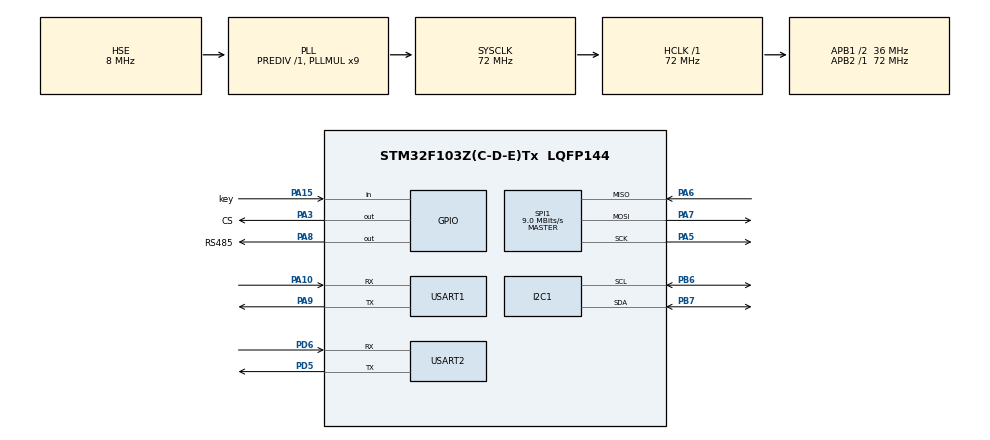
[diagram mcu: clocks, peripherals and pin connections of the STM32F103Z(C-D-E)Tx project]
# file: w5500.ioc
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Dma.Request0=USART2_RX
Dma.Request1=USART2_TX
Dma.USART2_RX.0.Direction=DMA_PERIPH_TO_MEMORY
Dma.USART2_RX.0.Instance=DMA1_Channel6
Dma.USART2_RX.0.MemDataAlignment=DMA_MDATAALIGN_BYTE
Dma.USART2_RX.0.MemInc=DMA_MINC_ENABLE
Dma.USART2_RX.0.Mode=DMA_NORMAL
Dma.USART2_RX.0.PeriphDataAlignment=DMA_PDATAALIGN_BYTE
Dma.USART2_RX.0.PeriphInc=DMA_PINC_DISABLE
Dma.USART2_RX.0.Priority=DMA_PRIORITY_LOW
Dma.USART2_TX.1.Direction=DMA_MEMORY_TO_PERIPH
Dma.USART2_TX.1.Instance=DMA1_Channel7
Dma.USART2_TX.1.MemDataAlignment=DMA_MDATAALIGN_BYTE
Dma.USART2_TX.1.MemInc=DMA_MINC_ENABLE
Dma.USART2_TX.1.Mode=DMA_NORMAL
Dma.USART2_TX.1.PeriphDataAlignment=DMA_PDATAALIGN_BYTE
Dma.USART2_TX.1.PeriphInc=DMA_PINC_DISABLE
Dma.USART2_TX.1.Priority=DMA_PRIORITY_LOW
Mcu.Family=STM32F1
Mcu.Name=STM32F103Z(C-D-E)Tx
Mcu.Package=LQFP144
NVIC.DMA1_Channel6_IRQn=true\:0\:0\:false\:false\:true\:false\:true\:true
NVIC.DMA1_Channel7_IRQn=true\:0\:0\:false\:false\:true\:false\:true\:true
NVIC.I2C1_ER_IRQn=true\:0\:0\:false\:false\:true\:true\:true\:true
NVIC.I2C1_EV_IRQn=true\:0\:0\:false\:false\:true\:true\:true\:true
NVIC.PriorityGroup=NVIC_PRIORITYGROUP_4
NVIC.TIM4_IRQn=true\:0\:0\:false\:false\:true\:true\:true\:true
NVIC.USART2_IRQn=true\:0\:0\:false\:false\:true\:true\:true\:true
OSC_IN.Mode=HSE-External-Oscillator
OSC_IN.Signal=RCC_OSC_IN
OSC_OUT.Mode=HSE-External-Oscillator
OSC_OUT.Signal=RCC_OSC_OUT
PA10.Mode=Asynchronous
PA10.Signal=USART1_RX
PA13.Mode=Serial_Wire
PA13.Signal=SYS_JTMS-SWDIO
PA14.Mode=Serial_Wire
PA14.Signal=SYS_JTCK-SWCLK
PA15.GPIO_Label=key
PA15.GPIO_PuPd=GPIO_PULLUP
PA15.Signal=GPIO_Input
PA3.GPIO_Label=CS
PA3.PinState=GPIO_PIN_SET
PA3.Signal=GPIO_Output
PA5.Mode=Full_Duplex_Master
PA5.Signal=SPI1_SCK
PA6.Mode=Full_Duplex_Master
PA6.Signal=SPI1_MISO
PA7.Mode=Full_Duplex_Master
PA7.Signal=SPI1_MOSI
PA8.GPIO_Label=RS485
PA8.GPIO_Speed=GPIO_SPEED_FREQ_HIGH
PA8.Signal=GPIO_Output
PA9.Mode=Asynchronous
PA9.Signal=USART1_TX
PB6.Mode=I2C
PB6.Signal=I2C1_SCL
PB7.Mode=I2C
PB7.Signal=I2C1_SDA
PC14-OSC32_IN.Mode=LSE-External-Oscillator
PC14-OSC32_IN.Signal=RCC_OSC32_IN
PC15-OSC32_OUT.Mode=LSE-External-Oscillator
PC15-OSC32_OUT.Signal=RCC_OSC32_OUT
PD5.Mode=Asynchronous
PD5.Signal=USART2_TX
PD6.Mode=Asynchronous
PD6.Signal=USART2_RX
ProjectManager.HeapSize=0x200
ProjectManager.StackSize=0x400
ProjectManager.TargetToolchain=MDK-ARM V5.32
RCC.AHBFreq_Value=72000000
RCC.APB1CLKDivider=RCC_HCLK_DIV2
RCC.APB1Freq_Value=36000000
RCC.APB1TimFreq_Value=72000000
RCC.APB2Freq_Value=72000000
RCC.APB2TimFreq_Value=72000000
RCC.HCLKFreq_Value=72000000
RCC.PLLMUL=RCC_PLL_MUL9
RCC.PLLSourceVirtual=RCC_PLLSOURCE_HSE
RCC.SYSCLKFreq_VALUE=72000000
RCC.SYSCLKSource=RCC_SYSCLKSOURCE_PLLCLK
RCC.USBFreq_Value=72000000
SPI1.BaudRatePrescaler=SPI_BAUDRATEPRESCALER_8
SPI1.CalculateBaudRate=9.0 MBits/s
SPI1.Direction=SPI_DIRECTION_2LINES
SPI1.Mode=SPI_MODE_MASTER
SPI1.VirtualType=VM_MASTER
TIM1.Prescaler=72-1
TIM4.Period=1000-1
TIM4.Prescaler=72-1
USART1.VirtualMode=VM_ASYNC
USART2.VirtualMode=VM_ASYNC
VP_TIM1_VS_ClockSourceINT.Mode=Internal
VP_TIM4_VS_ClockSourceINT.Mode=Internal
board=custom

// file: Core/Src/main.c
/* USER CODE BEGIN Header */
/**
 ******************************************************************************
 * @file           : main.c
 * @brief          : Main program body
 ******************************************************************************
 * @attention
 *
 * Copyright (c) 2026 STMicroelectronics.
 * All rights reserved.
 *
 * This software is licensed under terms that can be found in the LICENSE file
 * in the root directory of this software component.
 * If no LICENSE file comes with this software, it is provided AS-IS.
 *
 ******************************************************************************
 */
/* USER CODE END Header */
#include "main.h"
#include "dma.h"
#include "i2c.h"
#include "spi.h"
#include "tim.h"
#include "usart.h"
#include "gpio.h"

/* USER CODE BEGIN Includes */
#include "bsp_w5500.h"
#include "mpu6050.h"
#include "mqtt_app.h"
#include "socket.h"
#include "w5500.h"
#include "wizchip_conf.h"
#include <stdio.h>
#include "sensor.h"
#include "control.h"
extern void Sensor_task(void);
// ??1?????

int fputc(int ch, FILE *f) {
  HAL_UART_Transmit(&huart1, (uint8_t *)&ch, 1, HAL_MAX_DELAY);
  return ch;
}
/* USER CODE END Includes */

/* USER CODE BEGIN PTD */
// UDP
#define SOCKET_UDP 0  // ?? Socket 0
#define UDP_PORT 5000 // ????5000
#define DATA_BUF_SIZE 2048
uint8_t g_udp_buf[DATA_BUF_SIZE];
int32_t udp_loopback(uint8_t sn, uint8_t *buf, uint16_t port) {
  int32_t ret;
  uint8_t status;
  uint16_t recv_size;
  uint8_t remote_ip[4];
  uint16_t remote_port;
  ret = getsockopt(sn, SO_STATUS, &status);

  if (ret != SOCK_OK) {
    printf("getsockopt status ERROR:%d\r\n", ret);
    return ret;
  }

  switch (status) {
  case SOCK_UDP:
    ret = getsockopt(sn, SO_RECVBUF, &recv_size);
    if (ret != SOCK_OK) {
      printf("getsockopt RECV_SIZE ERROR:%ld\r\n", (long)ret);
      return ret;
    }
    if (recv_size > 0) {
      if (recv_size > DATA_BUF_SIZE)
        recv_size = DATA_BUF_SIZE;
      ret = recvfrom(sn, buf, recv_size, remote_ip, &remote_port);
      if (ret > 0) {
        printf("UDP Recv: %ld bytes from %d.%d.%d.%d:%d\r\n", (long)ret,
               remote_ip[0], remote_ip[1], remote_ip[2], remote_ip[3],
               remote_port);

        // ???????????????????
        printf("Data: ");
        for (int i = 0; i < ret; i++) {
          printf("%02X ", buf[i]);
        }
        printf("\r\n");

        ret = sendto(sn, buf, ret, remote_ip, remote_port);
        if (ret < 0) {
          printf("UDP Send Error: %ld\r\n", (long)ret);
          return ret;
        }
        printf("UDP Send :%ld bytes send back\r\n", (long)ret);

      } else if (ret == SOCK_BUSY) {
      } else {
        printf("UDP Send Error: %ld\r\n", (long)ret);
        return ret;
      }
    }
    break;
  case SOCK_CLOSED:
    ret = socket(sn, Sn_MR_UDP, port, SF_IO_NONBLOCK);
    if (ret != sn) {
      printf("Socket Open Error: %ld\r\n", (long)ret);
      return ret;
    }
    printf("UDP Socket %d opened on port %d (Non-blocking mode)\r\n", sn, port);
    break;
  }
  return 1;
}
/* USER CODE END PTD */

/* USER CODE BEGIN PD */
#define TCP_SIZE_BUF 2048
#define SOCKET_TCP_SERVER 1
#define SOCKET_PORT 5001
uint8_t g_tcp_buffer[TCP_SIZE_BUF];
static uint8_t g_client_connected = 0;
int32_t tcp_server_task(uint8_t sn, uint8_t *buf, uint16_t port) {
  uint8_t tcp_status;
  int32_t ret;
  uint16_t recv_size;
  ret = getsockopt(sn, SO_STATUS, &tcp_status);
  if (ret != SOCK_OK) {
    return ret;
  }
  switch (tcp_status) {
  case SOCK_CLOSED: // ???TCP
                    //  ?? TCP Socket
    // ??: (sn, ????, ??, ????)
    // Sn_MR_TCP = 0x01, SF_IO_NONBLOCK = 0x40
    ret = socket(sn, Sn_MR_TCP, port, SF_IO_NONBLOCK);

    if (ret != sn) {
      return ret;
    }
    g_client_connected = 0;
    printf("[TCP] Socket %d opened, port %d\r\n", sn, port);
    break;
  case SOCK_INIT:
    printf("[TCP] Socket initialized, starting listen...\r\n");
    ret = listen(sn);
    if (ret != SOCK_OK) {
      return ret;
    }

    break;
  case SOCK_LISTEN: // ?????????????
    break;
  case SOCK_ESTABLISHED: // ??????
    if (!g_client_connected) {
      uint8_t client_ip[4];
      uint16_t client_port;
      getSn_DIPR(sn, client_ip);
      client_port = getSn_DPORT(sn);
      printf("[TCP] Client connected: %d.%d.%d.%d:%d\r\n", client_ip[0],
             client_ip[1], client_ip[2], client_ip[3], client_port);

      g_client_connected = 1;
    }
    ret = getsockopt(sn, SO_RECVBUF, &recv_size);
    if (ret != SOCK_OK) {
      return ret;
    }
    if (recv_size > 0) {
      if (recv_size > TCP_SIZE_BUF)
        recv_size = TCP_SIZE_BUF;

      ret = recv(sn, buf, recv_size);
      if (ret > 0) {
        buf[ret] = '\0';
        printf("[TCP] Data: %s\r\n", buf);
        int32_t sent = 0;
        while (sent < ret) {
          int32_t tmp = send(sn, buf + sent, ret - sent);
          if (tmp < 0) {
            break;
          }
          sent += tmp;
        }
        if (sent == ret) {
          printf("[TCP] Sent back %ld bytes\r\n", (long)sent);
        }
      } else if (ret == SOCK_BUSY) {
      } else if (ret == SOCKERR_SOCKSTATUS) {
        // ??????
        printf("[TCP] Connection lost during recv\r\n");
        g_client_connected = 0;
      } else {
        printf("[TCP] recv() error: %ld\r\n", (long)ret);
      }
    }
    break;
  // ???? 5: SOCK_CLOSE_WAIT - ??????????????
  case SOCK_CLOSE_WAIT:
    g_client_connected = 0;
    ret = disconnect(sn);
    if (ret != SOCK_OK) {
      printf("[TCP] disconnect() failed: %ld\r\n", (long)ret);
      // ?? disconnect ?????? close
      close(sn);
    }

    break;
  case SOCK_LAST_ACK:
  case SOCK_FIN_WAIT:
    break;
  }

  return 1;
}
/* USER CODE END PD */

/* USER CODE BEGIN PV */

#define PHYCFGR_OPMDC_MASK 0x38 // bits 5-3
#define PHYCFGR_DPX (1 << 2)    // ??????
#define PHYCFGR_SPD (1 << 1)    // ?? (1=100M, 0=10M)
#define PHYCFGR_LNK (1 << 0)    // ??????
uint8_t get_link_status(void) { return getPHYCFGR() & PHYCFGR_LNK; }
uint8_t get_link_speed(void) { return (getPHYCFGR() & PHYCFGR_SPD) ? 100 : 10; }
const char *get_full_duplex(void) {
  return (getPHYCFGR() & PHYCFGR_DPX) ? "full" : "half";
}
void ment_monitor_phy(void) {
  uint8_t last_link = 0;
  uint8_t current_link;
  int count = 0;
  while (count < 30) {
    current_link = get_link_status();
    printf("current_link:%d\r\n", current_link);
    if (current_link != last_link) {
      if (current_link) {
        printf("[%ds] LINK UP\r\n", count);
        printf("SPEED:%dMbps DUPLEX:%s\r\n", get_link_speed(),
               get_full_duplex());
      } else {
        printf("[%ds] LINK DOWN\r\n", count);
      }
      last_link = current_link;
    }
    HAL_Delay(1000);
    count++;
    printf("count:%d\r\n", count);
  }
}
/* USER CODE END PV */

void SystemClock_Config(void);

int main(void)
{

  /* MCU Configuration--------------------------------------------------------*/

  /* Reset of all peripherals, Initializes the Flash interface and the Systick. */
  HAL_Init();

  /* Configure the system clock */
  SystemClock_Config();

  /* Initialize all configured peripherals */
  MX_GPIO_Init();
  MX_DMA_Init();
  MX_SPI1_Init();
  MX_USART1_UART_Init();
  MX_I2C1_Init();
  MX_TIM4_Init();
  MX_TIM1_Init();
  MX_USART2_UART_Init();
  /* USER CODE BEGIN 2 */
  // MPU6050_Init();
  w5500_init();
  w5500_dump();
  //mqtt_init();

  wiz_NetInfo info;
  wizchip_getnetinfo(&info);
  // ????????
  printf("Current MAC Address: %02X:%02X:%02X:%02X:%02X:%02X\r\n", info.mac[0],
         info.mac[1], info.mac[2], info.mac[3], info.mac[4], info.mac[5]);
  // wiz_NetTimeout Timer_out, Timer_out1;
  // Timer_out.retry_cnt = 5;
  // Timer_out.time_100us = 2000;
  // wizchip_settimeout(&Timer_out);
  // wizchip_gettimeout(&Timer_out1);
  // ment_monitor_phy();
  // printf("rtr:%d,rcr:%d\r\n", Timer_out1.time_100us, Timer_out1.retry_cnt);
	mqtt_init();
	HAL_Delay(500);
	if(!g_MQTTclient.isconnected)
	{
	 printf("\r\n[ERROR] MQTT connection failed!\r\n");
	 printf("Please check:\r\n");
	 printf("  - Mosquitto is running on PC (192.168.227.1:1883)\r\n");
	 printf("  - Network cable is connected\r\n");
	 printf("  - Firewall allows port 1883\r\n");
	}
	HAL_TIM_Base_Start_IT(&htim4);
  /* USER CODE END 2 */

  /* Infinite loop */
  /* USER CODE BEGIN WHILE */
  while (1) {
		mqtt_loop();
	  Sensor_task();
		key_control();
    // udp_loopback(SOCKET_UDP,g_udp_buf,UDP_PORT);
    // tcp_server_task(SOCKET_TCP_SERVER, g_tcp_buffer, SOCKET_PORT);
    /* USER CODE END WHILE */

  }
}

void SystemClock_Config(void)
{
  RCC_OscInitTypeDef RCC_OscInitStruct = {0};
  RCC_ClkInitTypeDef RCC_ClkInitStruct = {0};

  /** Initializes the RCC Oscillators according to the specified parameters
  * in the RCC_OscInitTypeDef structure.
  */
  RCC_OscInitStruct.OscillatorType = RCC_OSCILLATORTYPE_HSE;
  RCC_OscInitStruct.HSEState = RCC_HSE_ON;
  RCC_OscInitStruct.HSEPredivValue = RCC_HSE_PREDIV_DIV1;
  RCC_OscInitStruct.HSIState = RCC_HSI_ON;
  RCC_OscInitStruct.PLL.PLLState = RCC_PLL_ON;
  RCC_OscInitStruct.PLL.PLLSource = RCC_PLLSOURCE_HSE;
  RCC_OscInitStruct.PLL.PLLMUL = RCC_PLL_MUL9;
  if (HAL_RCC_OscConfig(&RCC_OscInitStruct) != HAL_OK)
  {
    Error_Handler();
  }

  /** Initializes the CPU, AHB and APB buses clocks
  */
  RCC_ClkInitStruct.ClockType = RCC_CLOCKTYPE_HCLK|RCC_CLOCKTYPE_SYSCLK
                              |RCC_CLOCKTYPE_PCLK1|RCC_CLOCKTYPE_PCLK2;
  RCC_ClkInitStruct.SYSCLKSource = RCC_SYSCLKSOURCE_PLLCLK;
  RCC_ClkInitStruct.AHBCLKDivider = RCC_SYSCLK_DIV1;
  RCC_ClkInitStruct.APB1CLKDivider = RCC_HCLK_DIV2;
  RCC_ClkInitStruct.APB2CLKDivider = RCC_HCLK_DIV1;

  if (HAL_RCC_ClockConfig(&RCC_ClkInitStruct, FLASH_LATENCY_2) != HAL_OK)
  {
    Error_Handler();
  }
}

void Error_Handler(void)
{
  __disable_irq();
  while (1) {
  }
}

#ifdef  USE_FULL_ASSERT
/**
  * @brief  Reports the name of the source file and the source line number
  *         where the assert_param error has occurred.
  * @param  file: pointer to the source file name
  * @param  line: assert_param error line source number
  * @retval None
  */
void assert_failed(uint8_t *file, uint32_t line)
{
  /* USER CODE BEGIN 6 */
  /* User can add his own implementation to report the file name and line
     number, ex: printf("Wrong parameters value: file %s on line %d\r\n", file,
     line) */
  /* USER CODE END 6 */
}
#endif /* USE_FULL_ASSERT */
